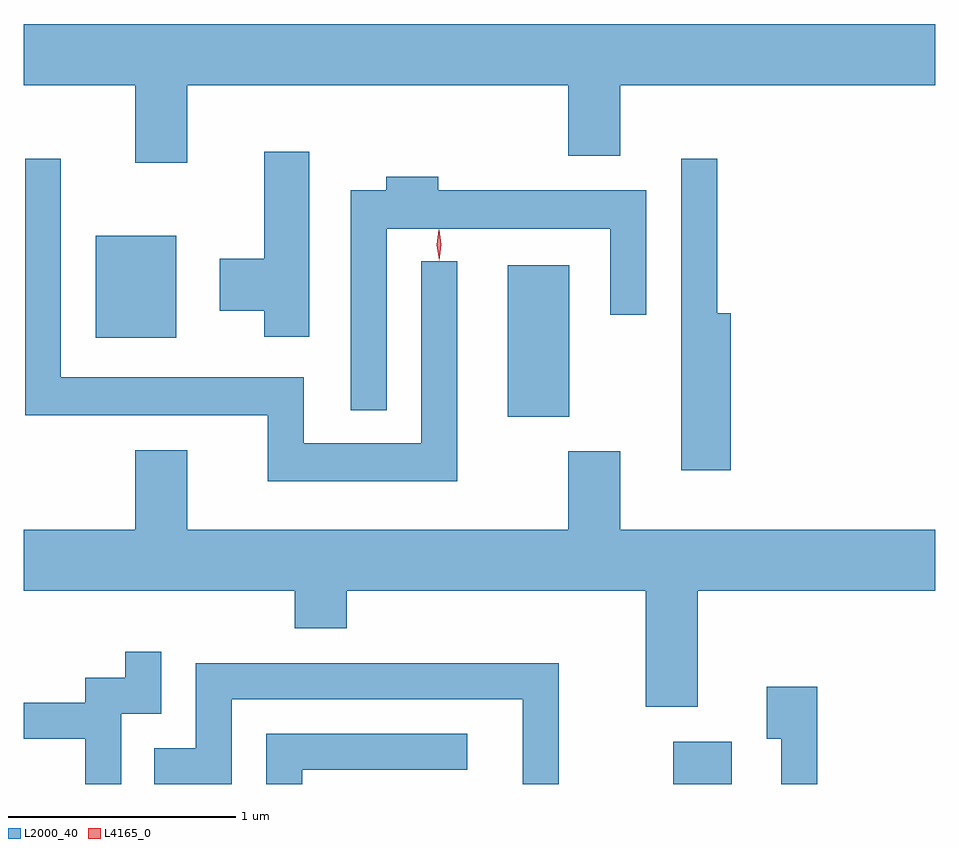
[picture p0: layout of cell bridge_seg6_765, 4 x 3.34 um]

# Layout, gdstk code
import gdstk
lib = gdstk.Library(unit=1e-6, precision=1e-09)
def R(c, l, rs):  # rectangles x0, y0, x1, y1
    for r in rs: c.add(gdstk.rectangle(r[:2], r[2:], *l))
def P(c, l, *ps):  # polygons
    for p in ps: c.add(gdstk.Polygon(p, *l))
L2000_40 = (2000, 40)
L4165_0 = (4165, 0)

bridge_seg6_765 = lib.new_cell('bridge_seg6_765')
R(bridge_seg6_765, L2000_40, [(493.111,1584.708,493.369,1584.894), (492.386,1586.321,492.654,1586.984), (490.576,1586.666,490.929,1587.114)])
P(bridge_seg6_765, L2000_40, [(490.979,1587.776),(492.651,1587.776),(492.651,1587.466),(492.879,1587.466),(492.879,1587.776),(494.261,1587.776),(494.261,1588.044),(490.261,1588.044),(490.261,1587.776),(490.751,1587.776),(490.751,1587.436),(490.979,1587.436)],
  [(491.514,1587.484),(491.316,1587.484),(491.316,1587.014),(491.121,1587.014),(491.121,1586.786),(491.316,1586.786),(491.316,1586.671),(491.514,1586.671)],
  [(492.164,1587.003),(492.006,1587.003),(492.006,1586.204),(491.489,1586.204),(491.489,1586.494),(490.424,1586.494),(490.424,1587.453),(490.266,1587.453),(490.266,1586.326),(491.331,1586.326),(491.331,1586.036),(492.164,1586.036)],
  [(493.364,1586.774),(493.304,1586.774),(493.304,1587.453),(493.146,1587.453),(493.146,1586.086),(493.364,1586.086)],
  [(491.854,1587.146),(492.836,1587.146),(492.836,1586.768),(492.994,1586.768),(492.994,1587.314),(492.079,1587.314),(492.079,1587.374),(491.851,1587.374),(491.851,1587.314),(491.696,1587.314),(491.696,1586.348),(491.854,1586.348)],
  [(493.219,1585.556),(494.261,1585.556),(494.261,1585.824),(492.879,1585.824),(492.879,1586.169),(492.651,1586.169),(492.651,1585.824),(490.979,1585.824),(490.979,1586.174),(490.751,1586.174),(490.751,1585.824),(490.261,1585.824),(490.261,1585.556),(491.451,1585.556),(491.451,1585.391),(491.679,1585.391),(491.679,1585.556),(492.991,1585.556),(492.991,1585.046),(493.219,1585.046)],
  [(490.689,1585.016),(490.864,1585.016),(490.864,1585.288),(490.706,1585.288),(490.706,1585.174),(490.531,1585.174),(490.531,1585.064),(490.261,1585.064),(490.261,1584.906),(490.531,1584.906),(490.531,1584.708),(490.689,1584.708)],
  [(491.174,1585.081),(492.451,1585.081),(492.451,1584.708),(492.609,1584.708),(492.609,1585.239),(491.016,1585.239),(491.016,1584.864),(490.833,1584.864),(490.833,1584.708),(491.174,1584.708)],
  [(493.744,1585.134),(493.521,1585.134),(493.521,1584.906),(493.586,1584.906),(493.586,1584.708),(493.744,1584.708)],
  [(491.484,1584.771),(492.208,1584.771),(492.208,1584.929),(491.326,1584.929),(491.326,1584.708),(491.484,1584.708)])
P(bridge_seg6_765, L4165_0, [(492.084,1587.007),(492.084,1587.007),(492.074,1587.074),(492.083,1587.14),(492.084,1587.14),(492.084,1587.14),(492.094,1587.074),(492.085,1587.007)])

lib.write_gds('bridge_seg6_765.gds')
